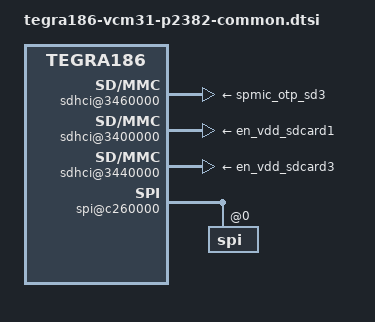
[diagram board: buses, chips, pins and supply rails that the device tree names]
/*
 * tegra186-vcm31-p2382-common.dtsi: tegra186-vcm31-p2382-common dtsi for k4.4
 *
 * Copyright (c) 2016, NVIDIA CORPORATION.  All rights reserved.
 *
 * This program is free software; you can redistribute it and/or modify
 * it under the terms of the GNU General Public License as published by
 * the Free Software Foundation; version 2 of the License.
 *
 * This program is distributed in the hope that it will be useful, but WITHOUT
 * ANY WARRANTY; without even the implied warranty of MERCHANTABILITY or
 * FITNESS FOR A PARTICULAR PURPOSE.  See the GNU General Public License for
 * more details.
 */

/ {
        sdhci@3460000 { /* SDMMC_D: Used for eMMc */
		uhs-mask = <0x60>;   /* Disable HS200/HS400 */
		status = "okay";
		vddio_sdmmc-supply = <0x0>;
		vddio_sd_slot-supply = <0x0>;
		vqmmc-supply = <&vdd_1v8>;
		vmmc-supply = <&spmic_otp_sd3>;
        };

	sdhci@3400000 {
		/* 7F: disable all UHS mode */
                uhs-mask = <0x7F>;
		vqmmc-supply = <&spmic_ldo3>;
		vmmc-supply = <&en_vdd_sdcard1>;
		vddio_sdmmc-supply = <0x0>;
		vddio_sd_slot-supply = <0x0>;
		cd-inverted;
		wp-inverted;
		status = "okay";
	};

	sdhci@3440000 {
		/* 7F: disable all UHS mode */
                uhs-mask = <0x7F>;
		vqmmc-supply = <&spmic_ldo5>;
		vmmc-supply = <&en_vdd_sdcard3>;
		vddio_sdmmc-supply = <0x0>;
		vddio_sd_slot-supply = <0x0>;
		cd-inverted;
		wp-inverted;
		status = "okay";
	};

	spi@c260000 { /* Tegra SPI2 <-> VCM SPIA: Dirana */
		cs-gpios = <&tegra_gpio TEGRA_GPIO(N,0) 0>;
		spi@0 {
			controller-data {
				/delete-property/ nvidia,chipselect-gpio;
			};
		};
	};

	/*
	 * FIXME : when auatmotive team switchs to k4.4 from k3.18
	 *   1. serial index will be moved from ttyS0 to ttyS1 in os_args in cfg
	 *   2. remove serial0/1 alias below
	 */
	aliases {
		serial1 = &uarta;
		serial0 = &uartb;
	};
};
